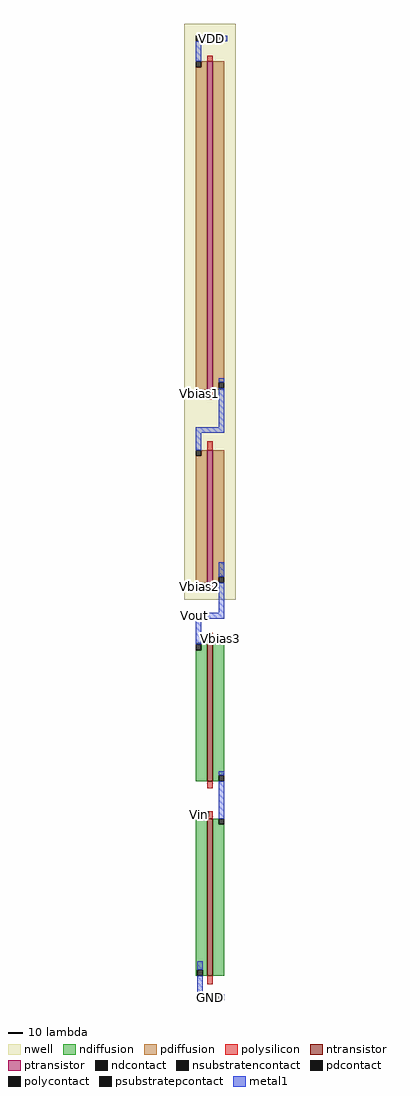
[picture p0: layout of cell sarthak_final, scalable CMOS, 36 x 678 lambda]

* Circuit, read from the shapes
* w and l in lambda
.subckt sarthak_final GND VDD Vbias1 Vbias2 Vbias3 Vin Vout
M1 n1 Vin GND GND nfet w=109 l=4
M2 n1 Vbias3 Vout GND nfet w=96 l=4
M3 Vout Vbias2 n2 VDD pfet w=92 l=4
M4 n2 Vbias1 VDD VDD pfet w=228 l=4
.ends

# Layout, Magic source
magic
tech scmos
<< nwell >>
rect -12 -146 24 254
<< ntransistor >>
rect 4 -272 8 -176
rect 4 -407 8 -298
<< ptransistor >>
rect 4 0 8 228
rect 4 -134 8 -42
<< ndiffusion >>
rect -4 -177 4 -176
rect 0 -181 4 -177
rect -4 -272 4 -181
rect 8 -268 16 -176
rect 8 -272 12 -268
rect -4 -403 4 -298
rect -4 -407 -3 -403
rect 1 -407 4 -403
rect 8 -302 12 -298
rect 8 -407 16 -302
<< pdiffusion >>
rect 0 224 4 228
rect -4 0 4 224
rect 8 5 16 228
rect 8 1 12 5
rect 8 0 16 1
rect 0 -46 4 -42
rect -4 -134 4 -46
rect 8 -130 16 -42
rect 8 -134 12 -130
<< ndcontact >>
rect -4 -181 0 -177
rect 12 -272 16 -268
rect -3 -407 1 -403
rect 12 -302 16 -298
<< pdcontact >>
rect -4 224 0 228
rect 12 1 16 5
rect -4 -46 0 -42
rect 12 -134 16 -130
<< psubstratepcontact >>
rect -3 -424 1 -420
rect 11 -424 15 -420
<< nsubstratencontact >>
rect -4 242 0 246
rect 12 242 16 246
<< polysilicon >>
rect 4 228 8 232
rect 4 -1 8 0
rect 5 -5 8 -1
rect 4 -7 8 -5
rect 4 -42 8 -36
rect 4 -135 8 -134
rect 5 -139 8 -135
rect 4 -171 8 -169
rect 4 -175 7 -171
rect 4 -176 8 -175
rect 4 -277 8 -272
rect 5 -297 8 -293
rect 4 -298 8 -297
rect 4 -413 8 -407
<< polycontact >>
rect 1 -5 5 -1
rect 1 -139 5 -135
rect 7 -175 11 -171
rect 1 -297 5 -293
<< metal1 >>
rect 0 242 12 246
rect 16 242 18 246
rect -4 228 0 242
rect 12 5 16 8
rect -2 -5 1 -1
rect 12 -26 16 1
rect -4 -30 16 -26
rect -4 -42 0 -30
rect 12 -130 16 -120
rect -3 -139 1 -135
rect 12 -155 16 -134
rect -7 -159 16 -155
rect -4 -177 0 -159
rect 11 -175 14 -171
rect 12 -268 16 -265
rect -2 -297 1 -293
rect 12 -298 16 -272
rect -3 -403 1 -397
rect -3 -420 1 -407
rect 1 -424 11 -420
rect 15 -424 16 -420
<< labels >>
rlabel metal1 7 244 7 244 1 VDD
rlabel metal1 -1 -3 -1 -3 1 Vbias1
rlabel metal1 -1 -137 -1 -137 1 Vbias2
rlabel metal1 -5 -157 -5 -157 1 Vout
rlabel metal1 13 -173 13 -173 1 Vbias3
rlabel metal1 -1 -295 -1 -295 1 Vin
rlabel metal1 6 -422 6 -422 1 GND
<< end >>
